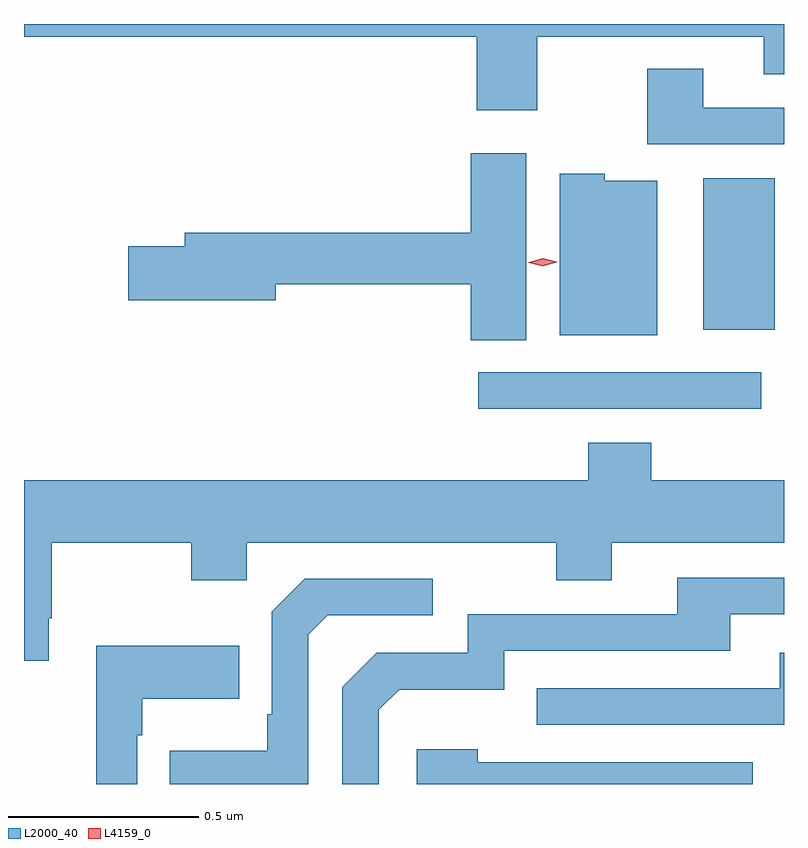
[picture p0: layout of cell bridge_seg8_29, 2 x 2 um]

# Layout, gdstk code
import gdstk
lib = gdstk.Library(unit=1e-6, precision=1e-09)
def R(c, l, rs):  # rectangles x0, y0, x1, y1
    for r in rs: c.add(gdstk.rectangle(r[:2], r[2:], *l))
def P(c, l, *ps):  # polygons
    for p in ps: c.add(gdstk.Polygon(p, *l))
L2000_40 = (2000, 40)
L4159_0 = (4159, 0)

bridge_seg8_29 = lib.new_cell('bridge_seg8_29')
R(bridge_seg8_29, L2000_40, [(1093.551,1144.824,1094.296,1144.92), (1094.144,1145.033,1094.332,1145.431)])
P(bridge_seg8_29, L2000_40, [(1093.707,1145.804),(1094.303,1145.804),(1094.303,1145.705),(1094.356,1145.705),(1094.356,1145.837),(1092.356,1145.837),(1092.356,1145.804),(1093.547,1145.804),(1093.547,1145.61),(1093.707,1145.61)],
  [(1094.356,1145.616),(1094.143,1145.616),(1094.143,1145.719),(1093.996,1145.719),(1093.996,1145.52),(1094.356,1145.52)],
  [(1093.678,1145.497),(1093.532,1145.497),(1093.532,1145.288),(1092.779,1145.288),(1092.779,1145.252),(1092.63,1145.252),(1092.63,1145.11),(1093.018,1145.11),(1093.018,1145.152),(1093.532,1145.152),(1093.532,1145.005),(1093.678,1145.005)],
  [(1094.023,1145.425),(1093.884,1145.425),(1093.884,1145.443),(1093.766,1145.443),(1093.766,1145.018),(1094.023,1145.018)],
  [(1092.421,1144.273),(1092.429,1144.273),(1092.429,1144.472),(1092.796,1144.472),(1092.796,1144.373),(1092.942,1144.373),(1092.942,1144.472),(1093.756,1144.472),(1093.756,1144.373),(1093.903,1144.373),(1093.903,1144.472),(1094.356,1144.472),(1094.356,1144.636),(1094.006,1144.636),(1094.006,1144.735),(1093.841,1144.735),(1093.841,1144.636),(1092.356,1144.636),(1092.356,1144.161),(1092.421,1144.161)],
  [(1093.29,1144.032),(1093.343,1144.085),(1093.62,1144.085),(1093.62,1144.188),(1094.215,1144.188),(1094.215,1144.284),(1094.356,1144.284),(1094.356,1144.38),(1094.075,1144.38),(1094.075,1144.284),(1093.524,1144.284),(1093.524,1144.182),(1093.284,1144.182),(1093.194,1144.092),(1093.194,1143.837),(1093.29,1143.837)],
  [(1093.104,1144.23),(1093.155,1144.281),(1093.432,1144.281),(1093.432,1144.377),(1093.095,1144.377),(1093.008,1144.29),(1093.008,1144.021),(1092.996,1144.021),(1092.996,1143.925),(1092.739,1143.925),(1092.739,1143.837),(1093.104,1143.837)],
  [(1092.654,1143.965),(1092.667,1143.965),(1092.667,1144.061),(1092.923,1144.061),(1092.923,1144.201),(1092.546,1144.201),(1092.546,1143.837),(1092.654,1143.837)],
  [(1094.356,1144.183),(1094.345,1144.183),(1094.345,1144.089),(1093.705,1144.089),(1093.705,1143.993),(1094.356,1143.993)],
  [(1094.274,1143.894),(1093.55,1143.894),(1093.55,1143.928),(1093.389,1143.928),(1093.389,1143.837),(1094.274,1143.837)])
P(bridge_seg8_29, L4159_0, [(1093.721,1145.2),(1093.684,1145.209),(1093.683,1145.209),(1093.684,1145.21),(1093.721,1145.22),(1093.758,1145.211),(1093.759,1145.211),(1093.758,1145.21)])

lib.write_gds('bridge_seg8_29.gds')
